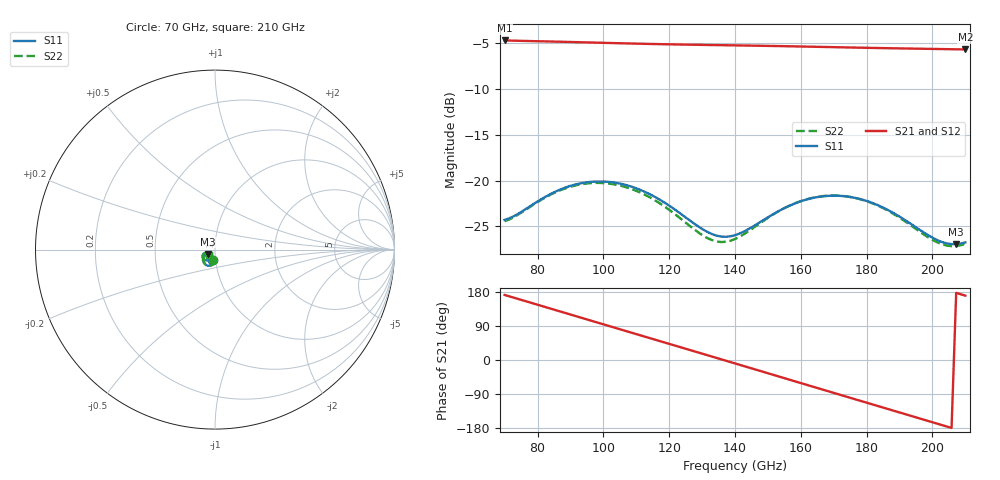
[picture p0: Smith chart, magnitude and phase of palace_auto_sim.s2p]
#  GHZ S DB R 50
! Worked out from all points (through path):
!   101 points, 70 GHz to 210 GHz, reference 50 ohm
!   highest |S21| = -4.68 dB at 70 GHz (marker M1); lowest = -5.7 dB at 210 GHz (marker M2)
!   group delay of S21, straight-line fit = 7.18 ps
!   lowest |S11| = -26.9 dB at 207.2 GHz (marker M3), VSWR 1.09, Z = 46.3 - j2.33 ohm
!   |S11| at or under -10 dB: start of sweep to end of sweep
!   |S22| runs from -27.2 to -20.2 dB; largest |S21 - S12| = 6.3e-14
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70  -24.29 -104.6  -4.68 171.7  -4.68 171.7  -24.43 -102.8
81.2  -22.02 -98.4  -4.78 142.8  -4.78 142.8  -22.08 -97.2
88.2  -20.79 -104.9  -4.84 124.7  -4.84 124.7  -20.88 -104.2
93.8  -20.24 -112.7  -4.89 110.2  -4.89 110.2  -20.36 -112.2
99.4  -20.09 -121.3  -4.94 95.7  -4.94 95.7  -20.26 -121.0
105  -20.32 -129.9  -4.99 81.2  -4.99 81.2  -20.54 -129.8
110.6  -20.92 -137.9  -5.04 66.8  -5.04 66.8  -21.21 -137.8
117.6  -22.18 -145.7  -5.09 48.8  -5.09 48.8  -22.59 -145.5
124.6  -23.91 -148.6  -5.14 30.7  -5.14 30.7  -24.47 -147.9
131.6  -25.60 -143.6  -5.18 12.7  -5.18 12.7  -26.27 -141.2
135.8  -26.11 -136.8  -5.20 1.8  -5.20 1.8  -26.71 -133.0
140  -25.96 -129.6  -5.22 -9.0  -5.22 -9.0  -26.38 -124.9
151.2  -23.75 -122.6  -5.29 -38.1  -5.29 -38.1  -23.79 -118.7
158.2  -22.49 -127.1  -5.33 -56.2  -5.33 -56.2  -22.47 -124.1
163.8  -21.88 -133.2  -5.37 -70.7  -5.37 -70.7  -21.86 -130.7
175  -21.79 -147.4  -5.45 -99.7  -5.45 -99.7  -21.79 -145.6
180.6  -22.29 -154.0  -5.49 -114.2  -5.49 -114.2  -22.32 -152.5
187.6  -23.43 -160.1  -5.54 -132.3  -5.54 -132.3  -23.52 -158.8
197.4  -25.68 -160.2  -5.59 -157.6  -5.59 -157.6  -25.89 -158.6
203  -26.72 -153.5  -5.63 -172.1  -5.63 -172.1  -26.97 -151.1
207.2  -26.94 -146.1  -5.65 177.1  -5.65 177.1  -27.15 -143.2
210  -26.75 -141.4  -5.67 169.8  -5.67 169.8  -26.90 -138.1
